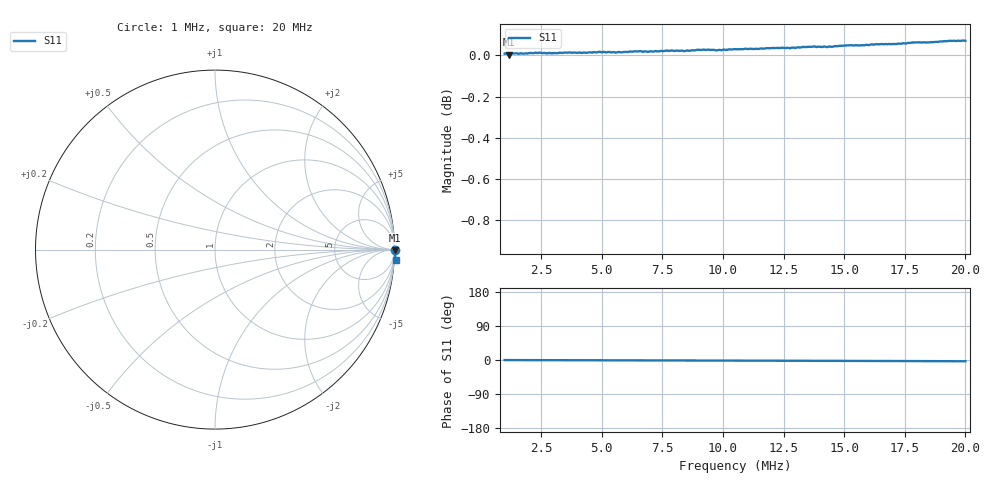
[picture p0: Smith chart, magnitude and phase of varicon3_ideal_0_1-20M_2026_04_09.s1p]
# HZ S RI R 50
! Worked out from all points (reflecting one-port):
!   401 points, 1 MHz to 20 MHz, reference 50 ohm
!   lowest |S11| = 0.0 dB at 1.19 MHz (marker M1)
!   phase of S11 starts at -0 deg and turns -3 deg over the sweep
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1000000  1.001 -0.00279
1190000  1 -0.00359
1475000  1.001 -0.00382
2045000  1.001 -0.00565
2710000  1.001 -0.0072
3375000  1.001 -0.00917
3945000  1.001 -0.0104
5750000  1.002 -0.0157
6462500  1.002 -0.0173
6842500  1.002 -0.0183
7602500  1.002 -0.0203
8125000  1.003 -0.0218
8695000  1.003 -0.0234
9027500  1.003 -0.0244
9835000  1.003 -0.0265
1.05e7  1.003 -0.0285
1.107e7  1.003 -0.0295
1.1735e7  1.003 -0.0318
1.2875e7  1.004 -0.0349
1.373e7  1.004 -0.0377
1.4395e7  1.004 -0.0397
1.525e7  1.005 -0.0418
1.5725e7  1.005 -0.0435
1.62e7  1.005 -0.0453
1.7625e7  1.006 -0.0496
1.8385e7  1.006 -0.0517
1.943e7  1.007 -0.0559
2e7  1.007 -0.0583
